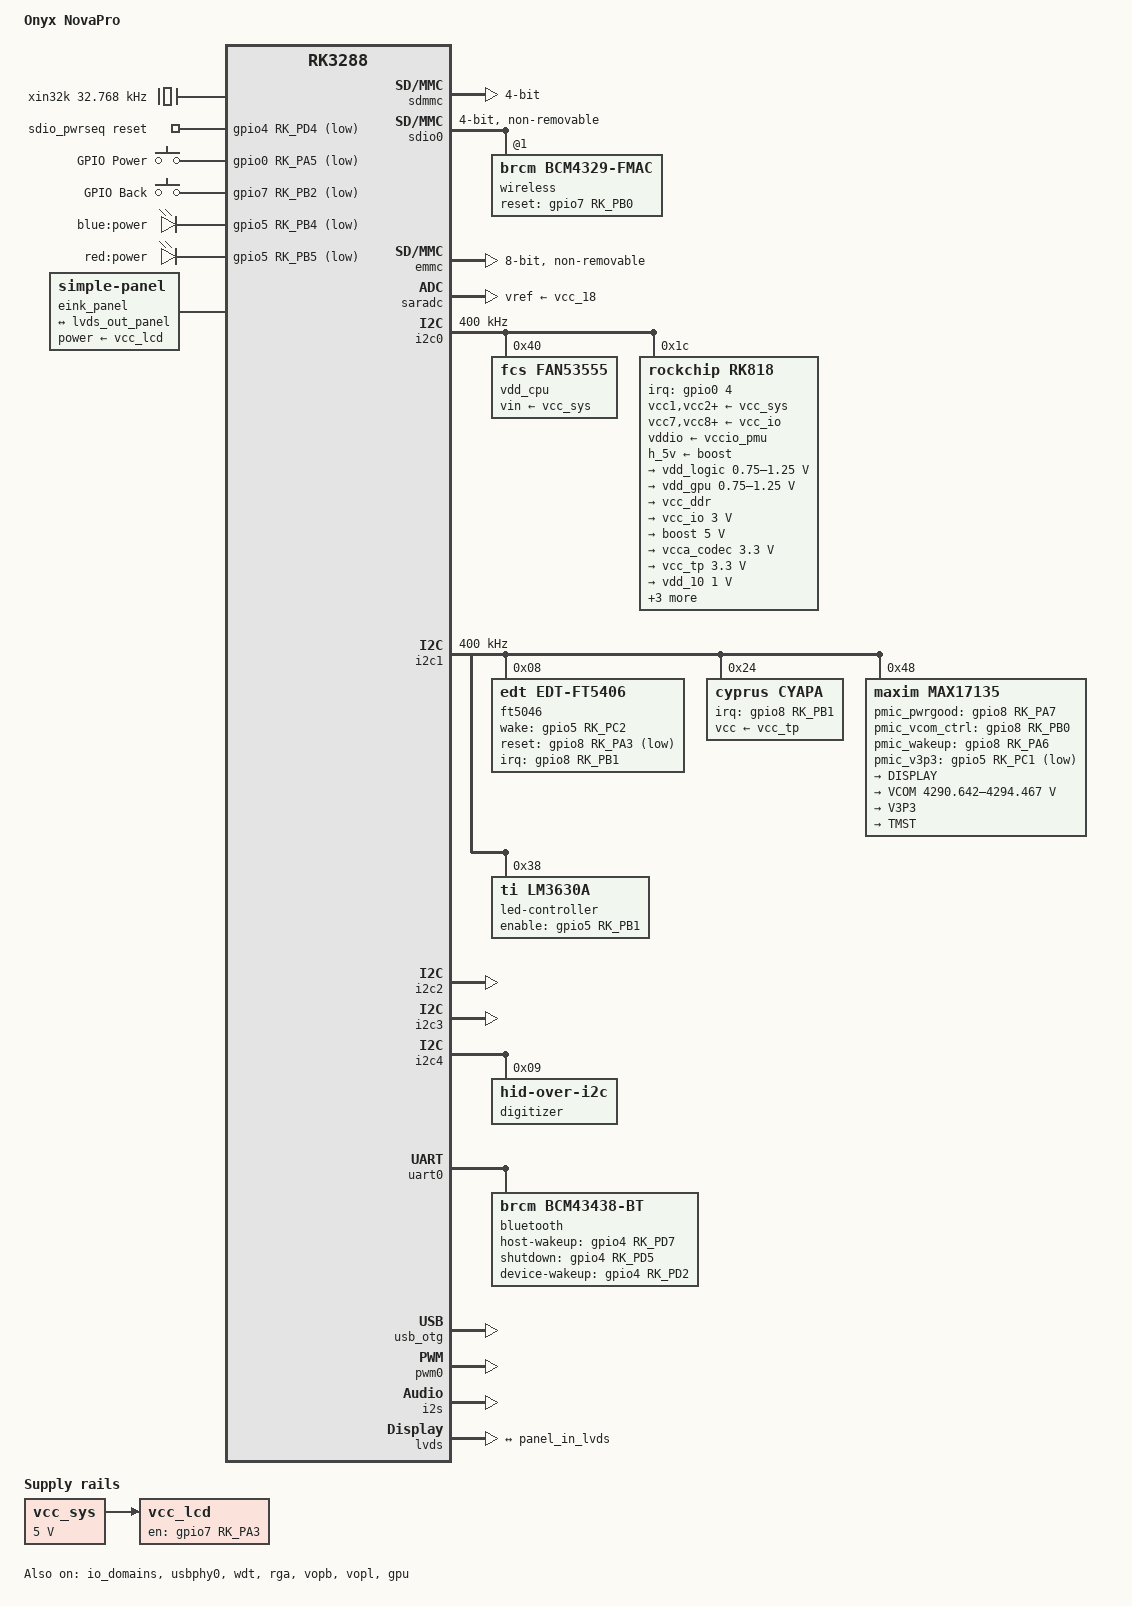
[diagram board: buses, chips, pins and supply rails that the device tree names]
// SPDK-License-Identifier: (GPL-2.0+ OR MIT)
/*
 * Copyright (c) 2017 Fuzhou Rockchip Electronics Co., Ltd.
 */

/dts-v1/;

#include <dt-bindings/input/input.h>
#include "rk3288.dtsi"

/ {
	model = "Onyx NovaPro";
	compatible = "onyx,novapro", "rockchip,rk3288";

	chosen {
		stdout-path = "serial2:115200n8";
	};

	memory@0 {
		device_type = "memory";
		reg = <0x0 0x0 0x0 0x0>;
	};

	xin32k: xin32k {
		compatible = "fixed-clock";
		clock-frequency = <32768>;
		clock-output-names = "xin32k";
		#clock-cells = <0>;
	};

	sdio_pwrseq: sdio-pwrseq {
		compatible = "mmc-pwrseq-simple";
		clocks = <&cru PLL_APLL>;
		clock-names = "ext_clock";
		reset-gpios = <&gpio4 RK_PD4 GPIO_ACTIVE_LOW>;
	};

	timer2: timer2@ff6b0000 {
		compatible = "rockchip,rk3288-timer";
		reg = <0x0 0xff6b0000 0x0 0x20>;
		interrupts = <GIC_SPI 66 IRQ_TYPE_LEVEL_HIGH>;
		clocks = <&cru PCLK_TIMER>, <&xin24m>;
		clock-names = "pclk", "timer";
	};

	keys: gpio-keys {
		compatible = "gpio-keys";

		power {
			wakeup-source;
			gpios = <&gpio0 RK_PA5 GPIO_ACTIVE_LOW>;
			label = "GPIO Power";
			linux,code = <KEY_POWER>;
		};

		back {
			wakeup-source;
			gpios = <&gpio7 RK_PB2 GPIO_ACTIVE_LOW>;
			label = "GPIO Back";
			linux,code = <KEY_BACK>;
		};

	};

	leds {
		compatible = "gpio-leds";

		power_led: led-0 {
			label = "blue:power";
			gpios = <&gpio5 RK_PB4 GPIO_ACTIVE_LOW>;
			linux,default-trigger = "default-on";
		};

		charging_led: led-1 {
			label = "red:power";
			gpios = <&gpio5 RK_PB5 GPIO_ACTIVE_LOW>;
			linux,default-trigger = "battery-charging";
		};
	};

	eink_panel: eink-panel {
		compatible = "simple-panel";
		status = "okay";
		power-supply = <&vcc_lcd>;

		port {
			panel_in_lvds: endpoint {
				remote-endpoint = <&lvds_out_panel>;
			};
		};

		display-timings {
			native-mode = <&timing0>;

			timing0: timing0 {
				clock-frequency = <50000000>;
				hactive = <1872>;
				vactive = <1404>;
				hback-porch = <1>;
				hfront-porch = <1>;
				vback-porch = <5>;
				vfront-porch = <1>;
				hsync-len = <1>;
				vsync-len = <1>;
			};
		};

		eink-timings {
			panel_name = "ED078KH4";
			frame_rate = <85>;
			panel_width = <16>;
			sdclk-frequency = <34000000>;
			sdclk-pulse-width = <2>;
			interclk-frequency-multiple = <7>;
			xres = <1872>;
			yres = <1404>;
			left_margin = <17>;
			right_margin = <7>;
			upper_margin = <4>;
			lower_margin = <12>;
			hsync_len = <18>;
			vsync_len = <1>;
		};
	};

	vcc_sys: vsys-regulator {
		compatible = "regulator-fixed";
		regulator-name = "vcc_sys";
		regulator-min-microvolt = <5000000>;
		regulator-max-microvolt = <5000000>;
		regulator-always-on;
		regulator-boot-on;
	};

	vcc_lcd: vcc-lcd {
		compatible = "regulator-fixed";
		enable-active-high;
		regulator-boot-on;
		gpio = <&gpio7 RK_PA3 GPIO_ACTIVE_HIGH>;
		pinctrl-names = "default";
		pinctrl-0 = <&lcd_en>;
		regulator-name = "vcc_lcd";
		vin-supply = <&vcc_sys>;
	};

};

&sdmmc {
	status = "okay";
	supports-sd;
	bus-width = <4>;
	cap-mmc-highspeed;
	sd-uhs-sdr12;
	sd-uhs-sdr25;
	sd-uhs-sdr50;
	sd-uhs-sdr104;
	cap-sd-highspeed;
	card-detect-delay = <200>;
	disable-wp;
	num-slots = <1>;
	pinctrl-names = "default";
	pinctrl-0 = <&sdmmc_clk &sdmmc_cmd &sdmmc_cd &sdmmc_bus4>;
	vmmc-supply = <0x1b>;
	vqmmc-supply = <0x1c>;
};

&sdio0 {
	status = "okay";
	max-frequency = <25000000>;
	bus-width = <4>;
	cap-sd-highspeed;
	cap-sdio-irq;
	disable-wp;
	keep-power-in-suspend;
	mmc-pwrseq = <&sdio_pwrseq>;
	non-removable;
	num-slots = <1>;
	pinctrl-names = "default";
	pinctrl-0 = <&sdio0_bus4 &sdio0_cmd &sdio0_clk &sdio0_int>;
	sd-uhs-sdr104;
	supports-sdio;
	#address-cells = <1>;
	#size-cells = <0>;

	wireless: wifi@1 {
		compatible = "brcm,bcm4329-fmac";
		interrupts = <&gpio4 RK_PD6 GPIO_ACTIVE_HIGH>;
		interrupt-names = "host-wake";
		reset-gpios = <&gpio7 RK_PB0 GPIO_ACTIVE_HIGH>;
		reg = <1>;
	};
};

&emmc {
	status = "okay";
	supports-emmc;
	bus-width = <8>;
	cap-mmc-highspeed;
	disable-wp;
	non-removable;
	num-slots = <1>;
	pinctrl-names = "default";
	pinctrl-0 = <&emmc_clk &emmc_cmd &emmc_pwr &emmc_bus8>;
	max-frequency = <100000000>;
	mmc-hs200-1_8v;
	mmc-ddr-1_8v;
};

&saradc {
	status = "okay";
	vref-supply = <&vcc_18>;
};

&i2c0 {
	status = "okay";
	clock-frequency = <400000>;

	vdd_cpu: syr827@40 {
		compatible = "fcs,fan53555";
		fcs,suspend-voltage-selector = <1>;
		reg = <0x40>;
		regulator-name = "vdd_cpu";
		regulator-min-microvolt = <850000>;
		regulator-max-microvolt = <1350000>;
		regulator-ramp-delay = <1000>;
		regulator-always-on;
		regulator-boot-on;
		vin-supply = <&vcc_sys>;
	};

	rk818: pmic@1c {
		compatible = "rockchip,rk818";
		reg = <0x1c>;
		status = "okay";
		clock-output-names = "rk818-clkout1", "wifibt_32kin";
		interrupt-parent = <&gpio0>;
		interrupts = <4 IRQ_TYPE_LEVEL_LOW>;
		pinctrl-names = "default";
		pinctrl-0 = <&pmic_int>;
		rockchip,system-power-controller;
		wakeup-source;
		#clock-cells = <1>;
		vcc1-supply = <&vcc_sys>;
		vcc2-supply = <&vcc_sys>;
		vcc3-supply = <&vcc_sys>;
		vcc4-supply = <&vcc_sys>;
		vcc6-supply = <&vcc_sys>;
		vcc7-supply = <&vcc_io>;
		vcc8-supply = <&vcc_io>;
		vcc9-supply = <&vcc_io>;
		vddio-supply = <&vccio_pmu>;
		boost-supply = <&vcc_sys>;
		h_5v-supply = <&boost>;

		regulators {

			vdd_logic: DCDC_REG1 {
				regulator-name = "vdd_logic";
				regulator-always-on;
				regulator-boot-on;
				regulator-min-microvolt = <750000>;
				regulator-max-microvolt = <1250000>;

				regulator-state-mem {
					regulator-off-in-suspend;
				};
			};

			vdd_gpu: DCDC_REG2 {
				regulator-name = "vdd_gpu";
				regulator-always-on;
				regulator-boot-on;
				regulator-min-microvolt = <750000>;
				regulator-max-microvolt = <1250000>;
				regulator-ramp-delay = <6000>;

				regulator-state-mem {
					regulator-off-in-suspend;
				};
			};

			vcc_ddr: DCDC_REG3 {
				regulator-always-on;
				regulator-boot-on;
				regulator-name = "vcc_ddr";

				regulator-state-mem {
					regulator-on-in-suspend;
				};
			};

			vcc_io: DCDC_REG4 {
				regulator-always-on;
				regulator-boot-on;
				regulator-min-microvolt = <3000000>;
				regulator-max-microvolt = <3000000>;
				regulator-name = "vcc_io";

				regulator-state-mem {
					regulator-off-in-suspend;
				};
			};

			boost: DCDC_BOOST {
				regulator-always-on;
				regulator-boot-on;
				regulator-min-microvolt = <5000000>;
				regulator-max-microvolt = <5000000>;
				regulator-name = "boost";

				regulator-state-mem {
					regulator-off-in-suspend;
				};
			};

			vcca_codec: LDO_REG1 {
				regulator-always-on;
				regulator-boot-on;
				regulator-min-microvolt = <3300000>;
				regulator-max-microvolt = <3300000>;
				regulator-name = "vcca_codec";

				regulator-state-mem {
					regulator-off-in-suspend;
				};
			};

			vcc_tp: LDO_REG2 {
				regulator-always-on;
				regulator-boot-on;
				regulator-min-microvolt = <3300000>;
				regulator-max-microvolt = <3300000>;
				regulator-name = "vcc_tp";

				regulator-state-mem {
					regulator-off-in-suspend;
				};
			};

			vdd_10: LDO_REG3 {
				regulator-always-on;
				regulator-boot-on;
				regulator-min-microvolt = <1000000>;
				regulator-max-microvolt = <1000000>;
				regulator-name = "vdd_10";

				regulator-state-mem {
					regulator-on-in-suspend;
					regulator-suspend-microvolt = <900000>;
				};
			};

			vcc18_lcd: LDO_REG4 {
				regulator-always-on;
				regulator-boot-on;
				regulator-min-microvolt = <1800000>;
				regulator-max-microvolt = <1800000>;
				regulator-name = "vcc18_lcd";

				regulator-state-mem {
					regulator-off-in-suspend;
				};
			};

			vccio_pmu: LDO_REG5 {
				regulator-always-on;
				regulator-boot-on;
				regulator-min-microvolt = <1800000>;
				regulator-max-microvolt = <1800000>;
				regulator-name = "vccio_pmu";

				regulator-state-mem {
					regulator-on-in-suspend;
					regulator-suspend-microvolt = <1800000>;
				};
			};

			vdd10_lcd: LDO_REG6 {
				regulator-always-on;
				regulator-boot-on;
				regulator-min-microvolt = <1000000>;
				regulator-max-microvolt = <1000000>;
				regulator-name = "vdd10_lcd";

				regulator-state-mem {
					regulator-off-in-suspend;
				};
			};

			vcc_18: LDO_REG7 {
				regulator-always-on;
				regulator-boot-on;
				regulator-min-microvolt = <1800000>;
				regulator-max-microvolt = <1800000>;
				regulator-name = "vcc_18";

				regulator-state-mem {
					regulator-off-in-suspend;
				};
			};

			vccio_wl: LDO_REG8 {
				regulator-always-on;
				regulator-boot-on;
				regulator-min-microvolt = <1800000>;
				regulator-max-microvolt = <3300000>;
				regulator-name = "vccio_wl";

				regulator-state-mem {
					regulator-suspend-microvolt = <1800000>;
					regulator-off-in-suspend;
				};
			};

			vccio_sd: LDO_REG9 {
				regulator-always-on;
				regulator-boot-on;
				regulator-min-microvolt = <3300000>;
				regulator-max-microvolt = <3300000>;
				regulator-name = "vccio_sd";

				regulator-state-mem {
					regulator-off-in-suspend;
					regulator-suspend-microvolt = <3300000>;
				};
			};

			vcc_sd: SWITCH_REG {
				regulator-always-on;
				regulator-boot-on;
				regulator-name = "vcc_sd";

				regulator-state-mem {
					regulator-off-in-suspend;
				};
			};

			h_5v: HDMI_SWITCH {
				regulator-always-on;
				regulator-boot-on;
				regulator-name = "h_5v";

				regulator-state-mem {
					regulator-off-in-suspend;
				};
			};

			otg_switch: OTG_SWITCH {
				regulator-name = "otg_switch";

				regulator-state-mem {
					regulator-off-in-suspend;
				};
			};
		};
	};
};

&i2c1 {
	status = "okay";
	clock-frequency = <400000>;

	ft5046@8 {
		compatible = "edt,edt-ft5406";
		reg = <0x08>;
		interrupt-parent = <&gpio8>;
		interrupts = <RK_PB1 IRQ_TYPE_EDGE_RISING>;
		wake-gpios = <&gpio5 RK_PC2 GPIO_ACTIVE_HIGH>;
		reset-gpios = <&gpio8 RK_PA3 GPIO_ACTIVE_LOW>;
	};

	cyapa@24 {
		compatible = "cyprus,cyapa";
		reg = <0x24>;
		pinctrl-names = "default";
		pinctrl-0 = <&captp_int>;
		vcc-supply = <&vcc_tp>;
		interrupt-parent = <&gpio8>;
		interrupts = <RK_PB1 IRQ_TYPE_EDGE_RISING>;
	};

	max17135@48 {
		pinctrl-names = "default";
		pinctrl-0 = <&max17135_gpios>;
		compatible = "maxim,max17135";
		reg = <0x48>;
		status = "okay";
		vneg_pwrup = <10>;
		gvee_pwrup = <0>;
		vpos_pwrup = <20>;
		gvdd_pwrup = <25>;
		gvdd_pwrdn = <0>;
		vpos_pwrdn = <3>;
		vneg_pwrdn = <10>;
		gvee_pwrdn = <20>;
		max_wait = <24>;
		gpio_pmic_pwrgood = <&gpio8 RK_PA7 GPIO_ACTIVE_HIGH>;
		gpio_pmic_vcom_ctrl = <&gpio8 RK_PB0 GPIO_ACTIVE_HIGH>;
		gpio_pmic_wakeup = <&gpio8 RK_PA6 GPIO_ACTIVE_HIGH>;
		gpio_pmic_v3p3 = <&gpio5 RK_PC1 GPIO_ACTIVE_LOW>;

		regulators {

			DISPLAY {
				regulator-name = "DISPLAY";
			};

			VCOM {
				regulator-name = "VCOM";
				regulator-min-microvolt = <0xffbe0178>;
				regulator-max-microvolt = <0xfff85ee0>;
			};

			V3P3 {
				regulator-name = "V3P3";
			};

			TMST {
				regulator-name = "TMST";
			};
		};
	};

	led-controller@38 {
		compatible = "ti,lm3630a";
		reg = <0x38>;
		enable-gpios = <&gpio5 RK_PB1 GPIO_ACTIVE_HIGH>;
		#address-cells = <1>;
		#size-cells = <0>;
		led@0 {
			reg = <0>;
			default-brightness = <10>;
		};
		led@1 {
			reg = <1>;
			default-brightness = <10>;
		};
	};
};

&i2c2 {
	status = "okay";
};

&i2c3 {
	status = "okay";
};

&i2c4 {
	status = "okay";

	digitizer: digitizer@9 {
		compatible = "hid-over-i2c";
		reg = <0x9>;
		pinctrl-names = "default";
		pinctrl-0 = <&wacom_int>;
		hid-descr-addr = <0x1>;
	};
};

&uart0 {
	status = "okay";
	pinctrl-names = "default";
	pinctrl-0 = <&uart0_xfer &uart0_cts &uart0_rts>;

	bluetooth {
		compatible = "brcm,bcm43438-bt";
		clocks = <&xin32k>;
		clock-names = "extclk";
		host-wakeup-gpios    = <&gpio4 RK_PD7 GPIO_ACTIVE_HIGH>;
		shutdown-gpios       = <&gpio4 RK_PD5 GPIO_ACTIVE_HIGH>;
		device-wakeup-gpios  = <&gpio4 RK_PD2 GPIO_ACTIVE_HIGH>;
	};
		
};

&usb_otg {
	status = "okay";
};

&pwm0 {
	pinctrl-names = "active";
	status = "okay";
};

&io_domains {
	status = "okay";
	sdcard-supply = <&vccio_sd>;
	wifi-supply = <&vccio_wl>;
	dvp-supply = <&vcc_18>;
};

&usbphy0 {
	status = "okay";
};

&wdt {
	status = "okay";
};

&i2s {
	status = "okay";
	dmas = <&dmac_bus_ns 0>, <&dmac_bus_ns 1>;
};

&lvds {
	status = "okay";
	rockchip,output = "rgb";

	ports {
		lvds_out: port@1 {
			reg = <1>;
			lvds_out_panel: endpoint {
				remote-endpoint = <&panel_in_lvds>;
			};
		};
	};
};

&iep_mmu {
	status = "okay";
};

&isp_mmu {
	status = "okay";
	power-domains = <&power RK3288_PD_VIO>;
};

&rga {
	status = "okay";
};

&vopb {
	status = "okay";
};

&vopb_mmu {
	status = "okay";
};

&vopl {
	status = "okay";
};

&vopl_mmu {
	status = "okay";
};

&lvds {
	status = "okay";
};

&hevc_mmu {
	status = "okay";
};

&gpu {
	mali-supply = <&vdd_gpu>;
	status = "okay";
};

&timer {
	status = "disabled";
};

&dmac_peri {
	status = "okay";
};

&dmac_bus_ns {
	status = "okay";
};

&dmac_bus_s {
	status = "disabled";
};

&pinctrl {
	pcfg_pull_none_drv_8ma: pcfg-pull-none-drv-8ma {
		drive-strength = <8>;
	};

	pcfg_pull_up_drv_8ma: pcfg-pull-up-drv-8ma {
		bias-pull-up;
		drive-strength = <8>;
	};

	backlight {
		bl_en: bl-en {
			rockchip,pins = <7 RK_PA2 RK_FUNC_GPIO &pcfg_pull_none>;
		};
	};

	lcd {
		lcd_en: lcd-en {
			rockchip,pins = <7 RK_PA3 RK_FUNC_GPIO &pcfg_pull_none>;
		};
	};

	tps6518x {
		tps6518x_gpios: tps6518x-gpios {
			rockchip,pins = <8 RK_PA7 RK_FUNC_GPIO &pcfg_pull_up>,
					<5 RK_PC1 RK_FUNC_GPIO &pcfg_pull_up>,
                                        <8 RK_PB0 RK_FUNC_GPIO &pcfg_pull_up>,
                                        <8 RK_PA6 RK_FUNC_GPIO &pcfg_pull_up>;
		};
	};

	pmic {
		pmic_int: pmic-int {
			rockchip,pins = <0 RK_PA4 RK_FUNC_GPIO &pcfg_pull_up>;
		};
		vsel1_gpio: vsel1-gpio {
			rockchip,pins = <0 RK_PA0 RK_FUNC_GPIO &pcfg_pull_down>;
		};
	};

	stylus {
		wacom_int: wacom-int {
			rockchip,pins = <7 RK_PB6 RK_FUNC_GPIO &pcfg_pull_up>;
		};
	};

	captp {
		captp_int: captp-int {
			rockchip,pins = <8 RK_PB1 RK_FUNC_GPIO &pcfg_pull_up>;
		};
	};

	buttons {
		btns_pinctrl {
			rockchip,pins = <0 RK_PA5 RK_FUNC_GPIO &pcfg_pull_up>,
					<7 RK_PB2 RK_FUNC_GPIO &pcfg_pull_up>,
					<7 RK_PB5 RK_FUNC_GPIO &pcfg_pull_up>;
		};
	};

	wireless-bluetooth {
		uart0_gpios: uart0-gpios {
			rockchip,pins = <4 RK_PC3 RK_FUNC_GPIO &pcfg_pull_none>;
		};
	};

	max17135 {
		max17135_gpios: max17135-gpios {
			rockchip,pins = <5 RK_PC0 RK_FUNC_GPIO &pcfg_pull_up>,
					<5 RK_PC1 RK_FUNC_GPIO &pcfg_pull_up>,
					<8 RK_PA6 RK_FUNC_GPIO &pcfg_pull_up>,
					<8 RK_PA7 RK_FUNC_GPIO &pcfg_pull_up>,
					<8 RK_PB0 RK_FUNC_GPIO &pcfg_pull_up>;
		};
	};
};
